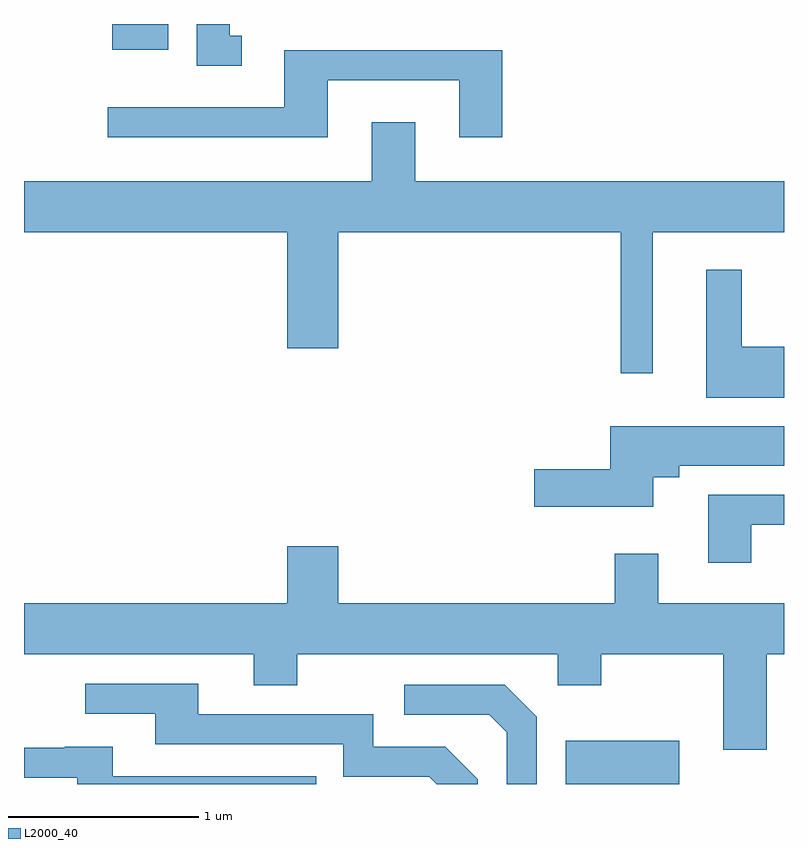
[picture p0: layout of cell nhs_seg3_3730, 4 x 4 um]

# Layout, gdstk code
import gdstk
lib = gdstk.Library(unit=1e-6, precision=1e-09)
def R(c, l, rs):  # rectangles x0, y0, x1, y1
    for r in rs: c.add(gdstk.rectangle(r[:2], r[2:], *l))
def P(c, l, *ps):  # polygons
    for p in ps: c.add(gdstk.Polygon(p, *l))
L2000_40 = (2000, 40)

nhs_seg3_3730 = lib.new_cell('nhs_seg3_3730')
R(nhs_seg3_3730, L2000_40, [(296.461,1231.892,297.059,1232.119), (294.076,1235.756,294.369,1235.892)])
P(nhs_seg3_3730, L2000_40, [(294.758,1235.829),(294.694,1235.829),(294.694,1235.892),(294.521,1235.892),(294.521,1235.671),(294.758,1235.671)],
  [(295.209,1235.596),(295.901,1235.596),(295.901,1235.296),(296.129,1235.296),(296.129,1235.754),(294.981,1235.754),(294.981,1235.454),(294.053,1235.454),(294.053,1235.296),(295.209,1235.296)],
  [(296.919,1234.796),(297.611,1234.796),(297.611,1235.064),(295.669,1235.064),(295.669,1235.374),(295.441,1235.374),(295.441,1235.064),(293.611,1235.064),(293.611,1234.796),(294.996,1234.796),(294.996,1234.186),(295.264,1234.186),(295.264,1234.796),(296.751,1234.796),(296.751,1234.053),(296.919,1234.053)],
  [(297.611,1234.194),(297.389,1234.194),(297.389,1234.599),(297.201,1234.599),(297.201,1233.926),(297.611,1233.926)],
  [(296.924,1233.506),(297.059,1233.506),(297.059,1233.566),(297.611,1233.566),(297.611,1233.774),(296.696,1233.774),(296.696,1233.549),(296.296,1233.549),(296.296,1233.351),(296.924,1233.351)],
  [(297.439,1233.256),(297.611,1233.256),(297.611,1233.414),(297.211,1233.414),(297.211,1233.056),(297.439,1233.056)],
  [(297.519,1232.576),(297.611,1232.576),(297.611,1232.844),(296.949,1232.844),(296.949,1233.104),(296.721,1233.104),(296.721,1232.844),(295.264,1232.844),(295.264,1233.144),(294.996,1233.144),(294.996,1232.844),(293.611,1232.844),(293.611,1232.576),(294.821,1232.576),(294.821,1232.411),(295.049,1232.411),(295.049,1232.576),(296.421,1232.576),(296.421,1232.411),(296.649,1232.411),(296.649,1232.576),(297.291,1232.576),(297.291,1232.071),(297.519,1232.071)],
  [(295.999,1231.917),(295.827,1232.089),(295.449,1232.089),(295.449,1232.259),(294.529,1232.259),(294.529,1232.419),(293.933,1232.419),(293.933,1232.261),(294.301,1232.261),(294.301,1232.101),(295.291,1232.101),(295.291,1231.931),(295.744,1231.931),(295.783,1231.892),(295.999,1231.892)],
  [(296.309,1232.247),(296.142,1232.414),(295.613,1232.414),(295.613,1232.256),(296.059,1232.256),(296.151,1232.164),(296.151,1231.892),(296.309,1231.892)],
  [(295.148,1231.934),(294.079,1231.934),(294.079,1232.089),(293.825,1232.089),(293.825,1232.084),(293.611,1232.084),(293.611,1231.926),(293.891,1231.926),(293.891,1231.892),(295.148,1231.892)])

lib.write_gds('nhs_seg3_3730.gds')
